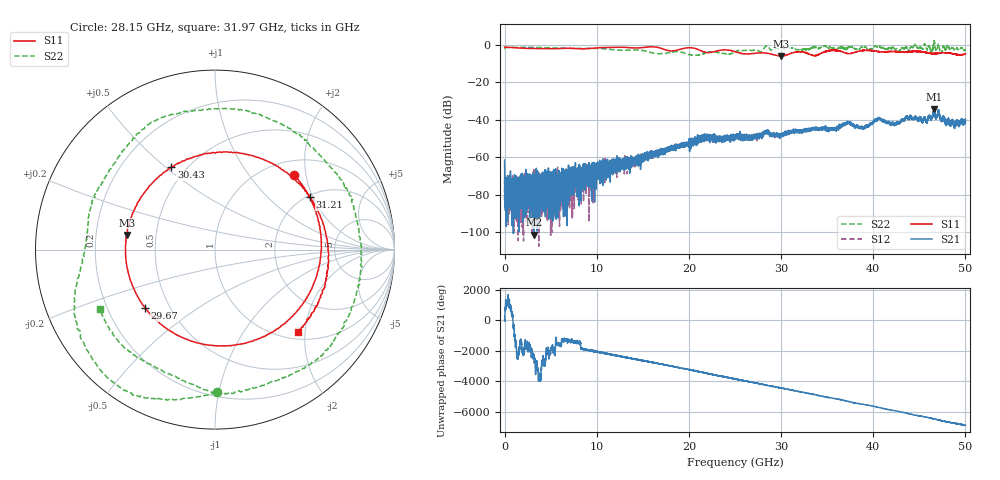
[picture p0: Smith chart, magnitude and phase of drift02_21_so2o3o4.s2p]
!Created with skrf (http://scikit-rf.org).
# Hz S RI R 50.0
!freq ReS11 ImS11 ReS21 ImS21 ReS12 ImS12 ReS22 ImS22
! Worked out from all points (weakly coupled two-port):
!   10001 points, 300 kHz to 50 GHz, reference 50 ohm
!   highest |S21| = -34.22 dB at 46.61 GHz (marker M1); lowest = -101.1 dB at 3.165 GHz (marker M2)
!   lowest |S11| = -6.1 dB at 30.04 GHz (marker M3), VSWR 2.98, Z = 16.9 + j3.69 ohm
!   |S11| at or under -10 dB: nowhere
!   |S22| runs from -5.7 to 2.3 dB; largest |S21 - S12| = 0.0038
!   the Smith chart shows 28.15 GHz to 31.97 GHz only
!   S11 on the Smith chart (normalised r, x): 28.15 GHz: 1.30, +1.71; 29.67 GHz: 0.37, -0.32; 30.43 GHz: 0.41, +0.52; 31.21 GHz: 2.07, +1.90; 31.97 GHz: 1.16, -1.84
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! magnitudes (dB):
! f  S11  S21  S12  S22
! 300 kHz  -1.3  -61.4  -71.4  -2.1
! 265.3 MHz  -1.4  -75.8  -76.4  -1.4
! 3.165 GHz  -2.0  -101.1  -72.5  -1.4
! 6.22 GHz  -2.0  -75.6  -67.0  -1.8
! 8.335 GHz  -2.2  -66.3  -70.1  -1.9
! 16.67 GHz  -1.5  -57.9  -57.2  -4.7
! 21.6 GHz  -3.7  -49.1  -50.6  -4.7
! 25 GHz  -3.7  -50.0  -49.1  -3.9
! 28.15 GHz  -4.4  -46.6  -47.0  -2.0
! 29.67 GHz  -5.9  -48.7  -48.9  -2.2
! 30.04 GHz  -6.1  -47.4  -47.6  -2.0
! 30.43 GHz  -5.7  -48.0  -47.7  -1.9
! 31.21 GHz  -4.4  -46.6  -46.5  -1.8
! 31.97 GHz  -3.7  -46.3  -46.3  -2.8
! 33.34 GHz  -5.5  -44.7  -45.1  -1.6
! 37.3 GHz  -4.7  -41.2  -41.5  -1.4
! 38.84 GHz  -3.1  -44.2  -44.4  -1.2
! 40.63 GHz  -3.6  -39.7  -39.1  -1.0
! 41.67 GHz  -3.6  -41.7  -41.1  -1.8
! 46.61 GHz  -4.8  -34.2  -34.8  2.2
! 48.12 GHz  -4.4  -40.7  -39.8  -0.6
! 50 GHz  -5.0  -39.8  -39.4  -2.7
